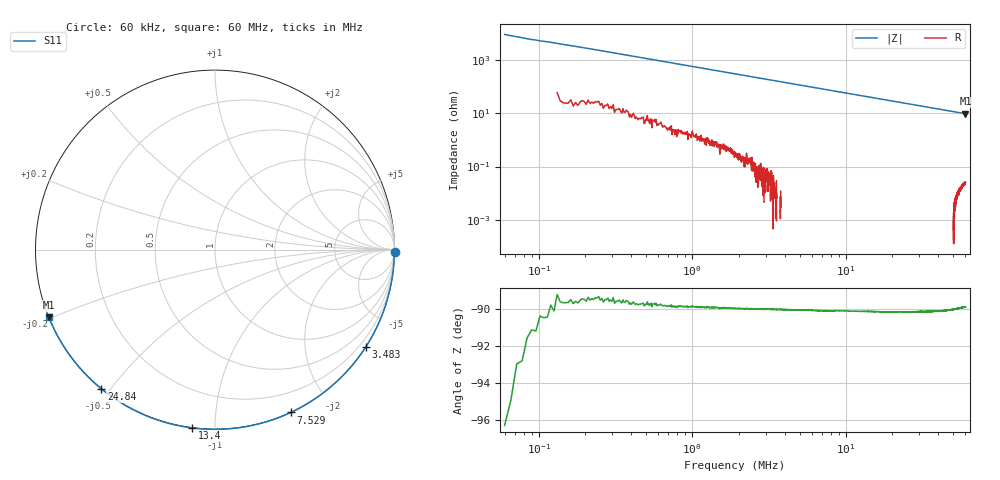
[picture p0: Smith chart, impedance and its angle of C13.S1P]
!Keysight Technologies,E5063A,MY54100949,A.07.30
!Date: Wed Dec 31 02:48:57 2025
!Data & Calibration Information:
!Freq	S11:RESPO(ON)
# Hz S RI R 50
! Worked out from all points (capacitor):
!   10001 points, 60 kHz to 60 MHz, reference 50 ohm
!   read as one part to ground: C = 270 pF near 359.7 kHz
!   lowest |Z| = 9.8 ohm at 60 MHz (marker M1)
!   S11 on the Smith chart (normalised r, x): 60 kHz: open; 3.483 MHz: 0.00, -3.39; 7.529 MHz: -0.00, -1.57; 13.4 MHz: -0.00, -0.88; 24.84 MHz: -0.00, -0.47; 60 MHz: 0.00, -0.20
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60000  1.001 -0.0106
323736  0.9981 -0.0549
1019040  0.9848 -0.1713
1720338  0.9581 -0.2851
2577480  0.9089 -0.4165
3482574  0.84 -0.5425
4489566  0.7475 -0.6645
5484570  0.6454 -0.7645
6491562  0.5363 -0.8451
7528524  0.4224 -0.9075
7552500  0.4198 -0.9089
8829222  0.2832 -0.9603
1.018986e7  0.1466 -0.9908
1.168237e7  0.0107 -1.002
1.339665e7  -0.1259 -0.9939
1.5045e7  -0.2383 -0.9732
1.673531e7  -0.3363 -0.944
1.855149e7  -0.4246 -0.9077
2.045758e7  -0.5017 -0.8674
2.25375e7  -0.5708 -0.8233
2.48392e7  -0.6331 -0.7764
2.732071e7  -0.6869 -0.7289
3.003e7  -0.734 -0.6813
3.348854e7  -0.7806 -0.6271
3.75225e7  -0.8214 -0.5722
4.5015e7  -0.8724 -0.4898
5.25075e7  -0.9041 -0.4266
6e7  -0.925 -0.3773
